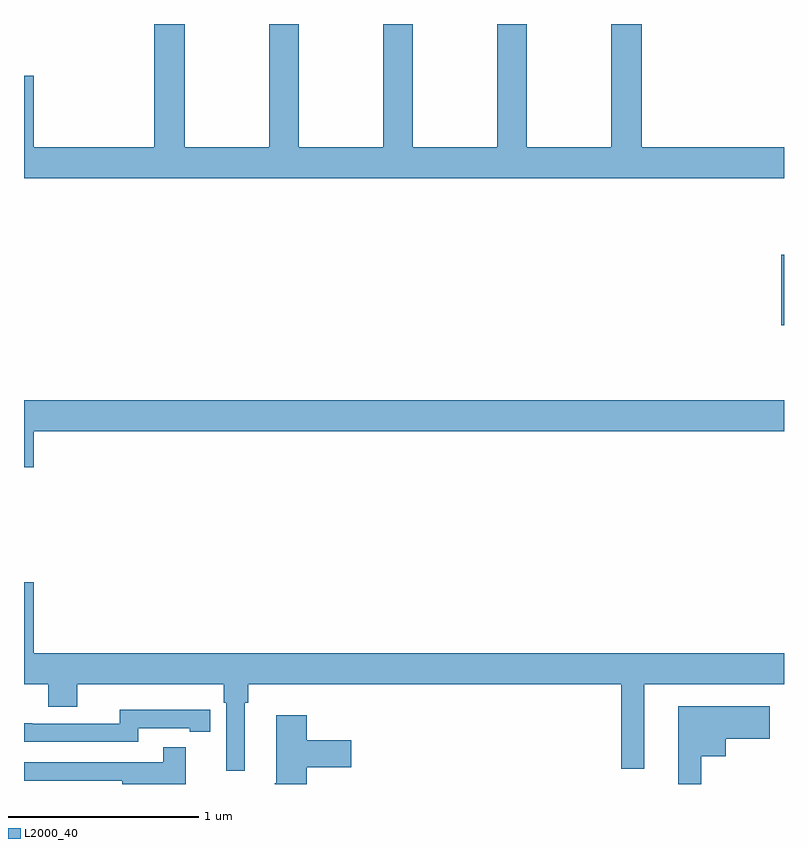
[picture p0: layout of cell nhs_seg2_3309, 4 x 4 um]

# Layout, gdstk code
import gdstk
lib = gdstk.Library(unit=1e-6, precision=1e-09)
def R(c, l, rs):  # rectangles x0, y0, x1, y1
    for r in rs: c.add(gdstk.rectangle(r[:2], r[2:], *l))
def P(c, l, *ps):  # polygons
    for p in ps: c.add(gdstk.Polygon(p, *l))
L2000_40 = (2000, 40)

nhs_seg2_3309 = lib.new_cell('nhs_seg2_3309')
R(nhs_seg2_3309, L2000_40, [(288.986,628.214,289,628.585)])
P(nhs_seg2_3309, L2000_40, [(289,629.152),(288.251,629.152),(288.251,629.8),(288.091,629.8),(288.091,629.152),(287.646,629.152),(287.646,629.8),(287.491,629.8),(287.491,629.152),(287.046,629.152),(287.046,629.8),(286.891,629.8),(286.891,629.152),(286.446,629.152),(286.446,629.8),(286.291,629.8),(286.291,629.152),(285.846,629.152),(285.846,629.8),(285.686,629.8),(285.686,629.152),(285.052,629.152),(285.052,629.527),(285,629.527),(285,628.988),(289,628.988)],
  [(285.052,627.656),(289,627.656),(289,627.82),(285,627.82),(285,627.468),(285.052,627.468)],
  [(286.162,626.228),(286.181,626.228),(286.181,626.324),(288.144,626.324),(288.144,625.88),(288.265,625.88),(288.265,626.324),(289,626.324),(289,626.488),(285.052,626.488),(285.052,626.863),(285,626.863),(285,626.324),(285.128,626.324),(285.128,626.207),(285.28,626.207),(285.28,626.324),(286.052,626.324),(286.052,626.228),(286.065,626.228),(286.065,625.869),(286.162,625.869)],
  [(288.565,625.946),(288.694,625.946),(288.694,626.039),(288.925,626.039),(288.925,626.209),(288.443,626.209),(288.443,625.8),(288.565,625.8)],
  [(285.6,626.094),(285.872,626.094),(285.872,626.074),(285.98,626.074),(285.98,626.19),(285.872,626.19),(285.872,626.191),(285.504,626.191),(285.504,626.118),(285.044,626.118),(285.044,626.12),(285,626.12),(285,626.022),(285.6,626.022)],
  [(286.487,625.889),(286.723,625.889),(286.723,626.031),(286.487,626.031),(286.487,626.161),(286.328,626.161),(286.328,625.805),(286.321,625.805),(286.321,625.8),(286.487,625.8)],
  [(285.851,625.993),(285.733,625.993),(285.733,625.914),(285,625.914),(285,625.818),(285.517,625.818),(285.517,625.8),(285.851,625.8)])

lib.write_gds('nhs_seg2_3309.gds')
